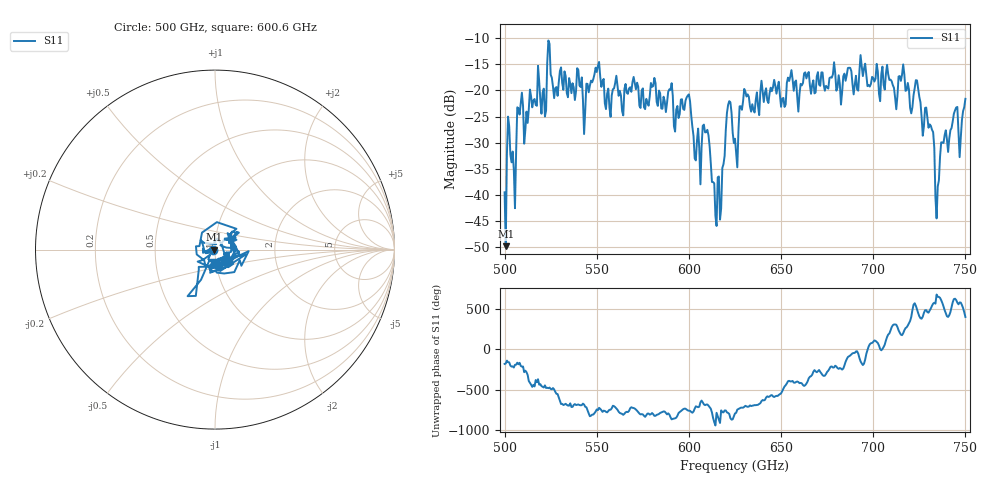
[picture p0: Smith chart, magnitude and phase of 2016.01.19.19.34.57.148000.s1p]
!Created with skrf (http://scikit-rf.org).
# GHz S RI R 50.0
!freq ReS11 ImS11
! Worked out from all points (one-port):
!   401 points, 500 GHz to 750 GHz, reference 50 ohm
!   lowest |S11| = -49.8 dB at 500.6 GHz (marker M1), VSWR 1.01, Z = 49.7 - j0.0306 ohm
!   |S11| at or under -10 dB: start of sweep to end of sweep
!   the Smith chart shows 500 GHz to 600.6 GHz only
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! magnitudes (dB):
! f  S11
! 500 GHz  -39.5
! 500.6 GHz  -49.8
! 502.5 GHz  -26.9
! 505 GHz  -35.2
! 508.1 GHz  -24.6
! 521.2 GHz  -19.7
! 524.4 GHz  -11.1
! 527.5 GHz  -19.5
! 531.2 GHz  -18.6
! 562.5 GHz  -20.1
! 580.6 GHz  -19.2
! 593.8 GHz  -23.0
! 599.4 GHz  -21.0
! 605 GHz  -27.3
! 609.4 GHz  -28.0
! 615.6 GHz  -36.6
! 618.1 GHz  -34.9
! 621.2 GHz  -22.8
! 625 GHz  -29.2
! 630.6 GHz  -20.2
! 656.2 GHz  -17.9
! 687.5 GHz  -15.7
! 718.8 GHz  -18.6
! 731.2 GHz  -26.8
! 735 GHz  -38.4
! 738.1 GHz  -30.1
! 747.5 GHz  -29.0
! 750 GHz  -21.6
